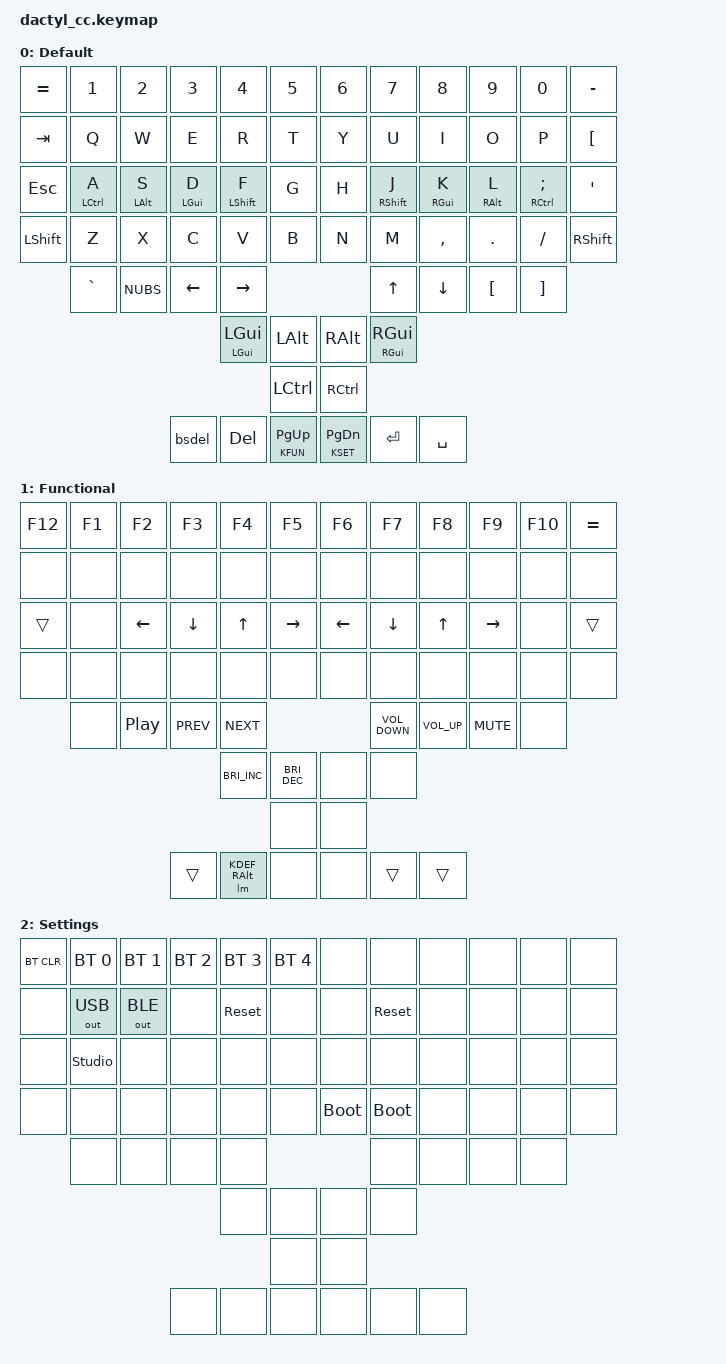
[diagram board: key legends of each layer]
#include <behaviors.dtsi>
#include <dt-bindings/zmk/keys.h>
#include <dt-bindings/zmk/bt.h>
#include <dt-bindings/zmk/outputs.h>

#define KDEF         0 // Default layer
#define KFUN         1 // Lower layer
#define KSET         2 // Settings layer

// Modifiers
#define HYPER(key)   LS(LC(LA(LG(key)))) // LSHFT+LCTRL+LALT+LGUI
#define MEH(key)     LS(LC(LA(key))) // LSHFT+LCTRL+LALT
#define GC(key)      LG(LC(key)) // LGUI+LCTRL

// Shortcuts
#define BRI_DN       C_BRIGHTNESS_DEC
#define BRI_UP       C_BRIGHTNESS_INC
#define VOL_UP       C_VOLUME_UP
#define VOL_DN       C_VOLUME_DOWN

// Home row mod key positions (used by positional hold-tap)
#define KEYS_L 0 1 2 3 4 5 12 13 14 15 16 17 24 25 26 27 28 29 36 37 38 39 40 41 48 49 50 51   // left-hand keys
#define KEYS_R 6 7 8 9 10 11 18 19 20 21 22 23 30 31 32 33 34 35 42 43 44 45 46 47 52 53 54 55 // right-hand keys
#define THUMBS 56 57 58 59 60 61 62 63 64 65 66 67                                             // thumb cluster keys

// Home row mod timings
#define HM_TAPPING_TERM      280
#define HM_QUICK_TAP         175
#define HM_PRIOR_IDLE        150


&kscan0 {
       debounce-press-ms = <30>;
       debounce-release-ms = <30>;
};

/ {
       behaviors {
              bsdel: backspace_delete {
                     compatible = "zmk,behavior-mod-morph";
                     #binding-cells = <0>;
                     bindings = <&kp BACKSPACE>, <&kp DELETE>;
                     mods = <(MOD_LSFT|MOD_RSFT)>;
              };
              studio_unlock: studio_unlock {
                     compatible = "zmk,behavior-studio-unlock";
                     #binding-cells = <0>;
              };
              // Home row mods for the left hand: only triggers as a hold when a
              // right-hand or thumb key is pressed, so same-hand rolls stay taps.
              hml: home_row_mod_left {
                     compatible = "zmk,behavior-hold-tap";
                     #binding-cells = <2>;
                     flavor = "balanced";
                     tapping-term-ms = <HM_TAPPING_TERM>;
                     quick-tap-ms = <HM_QUICK_TAP>;
                     require-prior-idle-ms = <HM_PRIOR_IDLE>;
                     hold-trigger-key-positions = <KEYS_R THUMBS>;
                     hold-trigger-on-release;
                     bindings = <&kp>, <&kp>;
              };
              // Home row mods for the right hand: mirror of `hml`.
              hmr: home_row_mod_right {
                     compatible = "zmk,behavior-hold-tap";
                     #binding-cells = <2>;
                     flavor = "balanced";
                     tapping-term-ms = <HM_TAPPING_TERM>;
                     quick-tap-ms = <HM_QUICK_TAP>;
                     require-prior-idle-ms = <HM_PRIOR_IDLE>;
                     hold-trigger-key-positions = <KEYS_L THUMBS>;
                     hold-trigger-on-release;
                     bindings = <&kp>, <&kp>;
              };
       };

       macros {
              /**
              * Temporarily switches to a layer (`&mo`) while a modifier is held.
              * Analogous to QMK's `LM()`, using a parameterized macro.
              *
              * Params:
              *  1. Layer to switch to
              *  2. Modifier to press while layer is active
              *
              * Example:
              *  `&lm NUM_LAYER LSHIFT`
              */
              lm: lm {
                     compatible = "zmk,behavior-macro-two-param";
                     wait-ms = <0>;
                     tap-ms = <0>;
                     #binding-cells = <2>;
                     bindings
                         = <&macro_param_1to1>
                         , <&macro_press &mo MACRO_PLACEHOLDER>
                         , <&macro_param_2to1>
                         , <&macro_press &kp MACRO_PLACEHOLDER>
                         , <&macro_pause_for_release>
                         , <&macro_param_2to1>
                         , <&macro_release &kp MACRO_PLACEHOLDER>
                         , <&macro_param_1to1>
                         , <&macro_release &mo MACRO_PLACEHOLDER>
                         ;
                 };
       };

       keymap {
              compatible = "zmk,keymap";

              default_layer {
                     display-name = "Default";
                     bindings = <
&kp EQUAL     &kp N1        &kp N2        &kp N3        &kp N4        &kp N5        &kp N6        &kp N7        &kp N8        &kp N9        &kp N0        &kp MINUS
&kp TAB       &kp Q         &kp W         &kp E         &kp R         &kp T         &kp Y         &kp U         &kp I         &kp O         &kp P         &kp LBKT
&kp ESC       &hml LCTRL A  &hml LALT S   &hml LGUI D   &hml LSHFT F  &kp G         &kp H         &hmr RSHFT J  &hmr RGUI K   &hmr RALT L   &hmr RCTRL SEMI &kp SQT
&kp LSHFT     &kp Z         &kp X         &kp C         &kp V         &kp B         &kp N         &kp M         &kp COMMA     &kp DOT       &kp FSLH      &kp RSHFT
              &kp GRAVE     &kp NUBS      &kp LEFT      &kp RIGHT                                 &kp UP        &kp DOWN      &kp LBKT      &kp RBKT
                                                        &mt LGUI LGUI &kp LALT      &kp RALT      &mt RGUI RGUI
                                                                      &kp LCTRL     &kp RCTRL
                                          &bsdel        &kp DEL       &lt KFUN PG_UP &lt KSET PG_DN &kp ENTER   &kp SPACE
                     >;
              };

              functional_layer {
                     display-name = "Functional";
                     bindings = <
&kp F12       &kp F1        &kp F2        &kp F3        &kp F4        &kp F5        &kp F6        &kp F7        &kp F8        &kp F9        &kp F10       &kp EQUAL
&none         &none         &none         &none         &none         &none         &none         &none         &none         &none         &none         &none
&trans        &none         &kp LEFT      &kp DOWN      &kp UP        &kp RIGHT     &kp LEFT      &kp DOWN      &kp UP        &kp RIGHT     &none         &trans
&none         &none         &none         &none         &none         &none         &none         &none         &none         &none         &none         &none
              &none         &kp C_PP      &kp C_PREV    &kp C_NEXT                                &kp VOL_DN    &kp VOL_UP    &kp C_MUTE    &none
                                                        &kp BRI_UP    &kp BRI_DN    &none         &none
                                                                      &none         &none
                                          &trans        &lm KDEF RALT &none         &none         &trans        &trans
                     >;
              };

              settings_layer {
                     display-name = "Settings";
                     bindings = <
&bt BT_CLR    &bt BT_SEL 0  &bt BT_SEL 1  &bt BT_SEL 2  &bt BT_SEL 3  &bt BT_SEL 4  &none         &none         &none         &none         &none         &none
&none         &out OUT_USB  &out OUT_BLE  &none         &sys_reset    &none         &none         &sys_reset    &none         &none         &none         &none
&none         &studio_unlock &none        &none         &none         &none         &none         &none         &none         &none         &none         &none
&none         &none         &none         &none         &none         &none         &bootloader   &bootloader   &none         &none         &none         &none
              &none         &none         &none         &none                                     &none         &none         &none         &none
                                                        &none         &none         &none         &none
                                                                      &none         &none
                                          &none         &none         &none         &none         &none         &none
                     >;
              };

       };
};
